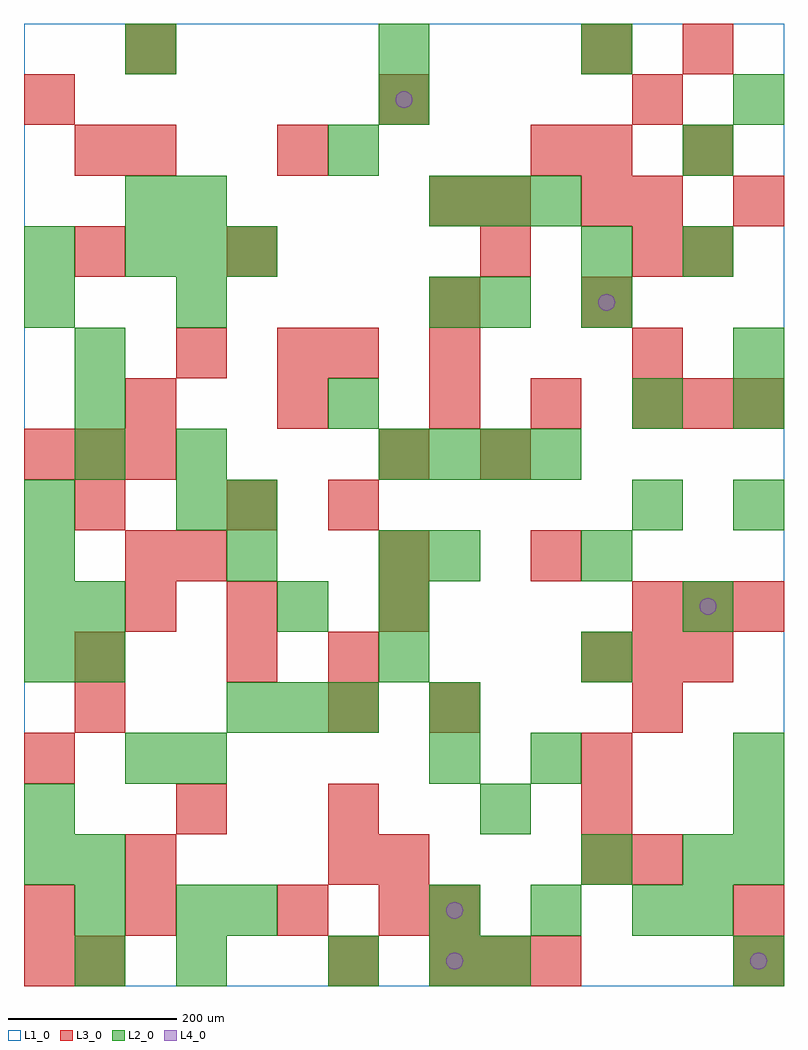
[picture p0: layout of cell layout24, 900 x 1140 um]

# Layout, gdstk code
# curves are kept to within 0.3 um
import gdstk
lib = gdstk.Library(unit=1e-6, precision=1e-09)
def R(c, l, rs):  # rectangles x0, y0, x1, y1
    for r in rs: c.add(gdstk.rectangle(r[:2], r[2:], *l))
def A(c, l, x, y, w, h, nx, ny, dx, dy):  # array of equal rectangles
    R(c, l, [(x+i*dx, y+j*dy, x+i*dx+w, y+j*dy+h) for i in range(nx) for j in range(ny)])
def P(c, l, *ps):  # polygons
    for p in ps: c.add(gdstk.Polygon(p, *l))
L1_0 = (1, 0)
L2_0 = (2, 0)
L3_0 = (3, 0)
L4_0 = (4, 0)

layout24 = lib.new_cell('layout24')
R(layout24, L1_0, [(0,0,900,1140)])
A(layout24, L2_0, 60, 0, 60, 60, 1, 3, 0, 60)
A(layout24, L2_0, 480, 60, 60, 60, 3, 1, 120, 0)
A(layout24, L2_0, 840, 120, 60, 60, 1, 3, 0, 60)
A(layout24, L2_0, 240, 300, 60, 60, 3, 1, 60, 0)
A(layout24, L2_0, 0, 360, 60, 60, 1, 4, 0, 60)
A(layout24, L2_0, 420, 360, 60, 60, 1, 3, 0, 60)
A(layout24, L2_0, 60, 600, 60, 60, 1, 3, 0, 60)
A(layout24, L2_0, 420, 600, 60, 60, 4, 1, 60, 0)
A(layout24, L2_0, 120, 840, 60, 60, 3, 1, 60, 0)
A(layout24, L2_0, 480, 900, 60, 60, 3, 1, 60, 0)
R(layout24, L2_0, [(180,0,240,60), (360,0,420,60), (480,0,540,60), (540,0,600,60), (840,0,900,60), (180,60,240,120), (240,60,300,120), (780,60,840,120), (0,120,60,180), (660,120,720,180), (780,120,840,180), (0,180,60,240), (540,180,600,240), (120,240,180,300), (180,240,240,300), (480,240,540,300), (600,240,660,300), (480,300,540,360), (60,360,120,420), (660,360,720,420), (60,420,120,480), (300,420,360,480), (780,420,840,480), (240,480,300,540), (480,480,540,540), (660,480,720,540), (180,540,240,600), (240,540,300,600), (720,540,780,600), (840,540,900,600), (180,600,240,660), (360,660,420,720), (720,660,780,720), (840,660,900,720), (840,720,900,780), (0,780,60,840), (180,780,240,840), (480,780,540,840), (540,780,600,840), (660,780,720,840), (0,840,60,900), (660,840,720,900), (780,840,840,900), (120,900,180,960), (180,900,240,960), (360,960,420,1020), (780,960,840,1020), (420,1020,480,1080), (840,1020,900,1080), (120,1080,180,1140), (420,1080,480,1140), (660,1080,720,1140)])
A(layout24, L3_0, 480, 0, 60, 60, 3, 1, 60, 0)
A(layout24, L3_0, 660, 120, 60, 60, 1, 3, 0, 60)
A(layout24, L3_0, 360, 360, 60, 60, 1, 3, 0, 180)
A(layout24, L3_0, 660, 360, 60, 60, 3, 1, 60, 0)
A(layout24, L3_0, 720, 420, 60, 60, 3, 2, 60, 240)
A(layout24, L3_0, 0, 600, 60, 60, 3, 1, 60, 0)
A(layout24, L3_0, 120, 660, 60, 60, 3, 1, 180, 0)
A(layout24, L3_0, 780, 840, 60, 60, 1, 3, 0, 120)
R(layout24, L3_0, [(0,0,60,60), (60,0,120,60), (360,0,420,60), (840,0,900,60), (0,60,60,120), (120,60,180,120), (300,60,360,120), (420,60,480,120), (480,60,540,120), (840,60,900,120), (120,120,180,180), (360,120,420,180), (420,120,480,180), (720,120,780,180), (180,180,240,240), (360,180,420,240), (0,240,60,300), (60,300,120,360), (360,300,420,360), (480,300,540,360), (720,300,780,360), (60,360,120,420), (240,360,300,420), (120,420,180,480), (240,420,300,480), (420,420,480,480), (120,480,180,540), (180,480,240,540), (420,480,480,540), (600,480,660,540), (60,540,120,600), (240,540,300,600), (420,600,480,660), (540,600,600,660), (600,660,660,720), (180,720,240,780), (300,720,360,780), (480,720,540,780), (720,720,780,780), (480,780,540,840), (660,780,720,840), (60,840,120,900), (240,840,300,900), (540,840,600,900), (720,840,780,900), (480,900,540,960), (540,900,600,960), (660,900,720,960), (720,900,780,960), (840,900,900,960), (60,960,120,1020), (120,960,180,1020), (300,960,360,1020), (600,960,660,1020), (660,960,720,1020), (0,1020,60,1080), (420,1020,480,1080), (720,1020,780,1080), (120,1080,180,1140), (660,1080,720,1140)])
P(layout24, L4_0, [(460,1050),(459.239,1053.827),(457.071,1057.071),(453.827,1059.239),(450,1060),(446.173,1059.239),(442.929,1057.071),(440.761,1053.827),(440,1050),(440.761,1046.173),(442.929,1042.929),(446.173,1040.761),(450,1040),(453.827,1040.761),(457.071,1042.929),(459.239,1046.173)],
  [(520,30),(519.239,33.827),(517.071,37.071),(513.827,39.239),(510,40),(506.173,39.239),(502.929,37.071),(500.761,33.827),(500,30),(500.761,26.173),(502.929,22.929),(506.173,20.761),(510,20),(513.827,20.761),(517.071,22.929),(519.239,26.173)],
  [(520,90),(519.239,93.827),(517.071,97.071),(513.827,99.239),(510,100),(506.173,99.239),(502.929,97.071),(500.761,93.827),(500,90),(500.761,86.173),(502.929,82.929),(506.173,80.761),(510,80),(513.827,80.761),(517.071,82.929),(519.239,86.173)],
  [(700,810),(699.239,813.827),(697.071,817.071),(693.827,819.239),(690,820),(686.173,819.239),(682.929,817.071),(680.761,813.827),(680,810),(680.761,806.173),(682.929,802.929),(686.173,800.761),(690,800),(693.827,800.761),(697.071,802.929),(699.239,806.173)],
  [(820,450),(819.239,453.827),(817.071,457.071),(813.827,459.239),(810,460),(806.173,459.239),(802.929,457.071),(800.761,453.827),(800,450),(800.761,446.173),(802.929,442.929),(806.173,440.761),(810,440),(813.827,440.761),(817.071,442.929),(819.239,446.173)],
  [(880,30),(879.239,33.827),(877.071,37.071),(873.827,39.239),(870,40),(866.173,39.239),(862.929,37.071),(860.761,33.827),(860,30),(860.761,26.173),(862.929,22.929),(866.173,20.761),(870,20),(873.827,20.761),(877.071,22.929),(879.239,26.173)])

lib.write_gds('layout24.gds')
